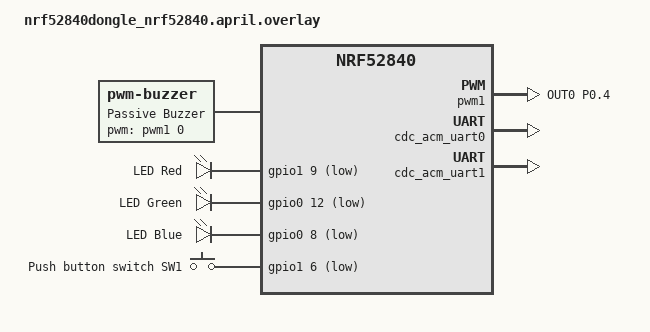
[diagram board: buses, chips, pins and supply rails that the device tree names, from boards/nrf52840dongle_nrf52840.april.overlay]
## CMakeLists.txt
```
#
# Copyright (c) 2018 Nordic Semiconductor
#
# SPDX-License-Identifier: LicenseRef-Nordic-5-Clause
#
cmake_minimum_required(VERSION 3.20.0)

find_package(Zephyr REQUIRED HINTS $ENV{ZEPHYR_BASE})
project(mouthpad_usb)

target_include_directories(app PRIVATE 
  src/mouthpad-proto/nanopb
  src/mouthpad-proto/src/C
)

# NORDIC SDK APP START
  target_sources(app PRIVATE
    src/ble_transport.c
    src/ble_central.c
    src/ble_nus_client.c
    src/ble_hid.c
    src/ble_bas.c
    src/usb_cdc.c
    src/usb_hid.c
    src/sample_usbd_init.c
    src/oled_display.c
    src/buzzer.c
    src/leds.c
    src/button.c
    src/main.c
    src/mouthpad-proto/src/C/MouthpadUsb.pb.c
    src/mouthpad-proto/nanopb/pb_common.c
    src/mouthpad-proto/nanopb/pb_decode.c
    src/mouthpad-proto/nanopb/pb_encode.c
  )
# NORDIC SDK APP END
```

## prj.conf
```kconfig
#
# Copyright (c) 2018 Nordic Semiconductor
#
# SPDX-License-Identifier: LicenseRef-Nordic-5-Clause
#

# Console configuration - REQUIRED for new USB CDC stack
# All console output (printk + logging) goes to CDC1 via zephyr,console chosen node
CONFIG_CONSOLE=y
CONFIG_UART_CONSOLE=y
CONFIG_SERIAL=y

# Shell for DFU command
CONFIG_SHELL=y
CONFIG_SHELL_BACKEND_SERIAL=y
CONFIG_SHELL_PROMPT_UART=""
# Reduce shell verbosity
CONFIG_SHELL_VT100_COLORS=n
CONFIG_SHELL_STATS=n
CONFIG_SHELL_CMDS_RESIZE=n
CONFIG_SHELL_LOG_BACKEND=n
CONFIG_KERNEL_SHELL=n

# Disable old USB stack explicitly
CONFIG_USB_DEVICE_STACK=n
CONFIG_USB_CDC_ACM=n
CONFIG_USB_DEVICE_HID=n

# Enable new USB device stack
CONFIG_USB_DEVICE_STACK_NEXT=y
CONFIG_USBD_HID_SUPPORT=y
CONFIG_USBD_CDC_ACM_CLASS=y

# CDC requirements
CONFIG_UART_LINE_CTRL=y
CONFIG_UART_USE_RUNTIME_CONFIGURE=y
CONFIG_HWINFO=y

# USB device identity (handled by sample_usbd)
# VID: 0x1915 (Nordic Semiconductor - matches ESP32 firmware)
# PID: 0xEEEE (matches ESP32 firmware)
CONFIG_SAMPLE_USBD_PID=0xEEEE
CONFIG_SAMPLE_USBD_MANUFACTURER="Augmental Tech"
CONFIG_SAMPLE_USBD_PRODUCT="MouthPad^USB"
CONFIG_SAMPLE_USBD_REMOTE_WAKEUP=y
CONFIG_SAMPLE_USBD_SELF_POWERED=n
CONFIG_SAMPLE_USBD_MAX_POWER=50

# Serial number from device ID (8 bytes = 16 hex chars, similar to ESP32 MAC)
CONFIG_USBD_HWINFO_DEVID_LENGTH=8

# Enable the BLE stack with GATT Client configuration
CONFIG_BT=y
CONFIG_BT_CENTRAL=y
CONFIG_BT_SMP=y
CONFIG_BT_ATT_TX_COUNT=5
CONFIG_BT_GATT_CLIENT=y

# Enable larger MTU for BLE NUS
CONFIG_BT_L2CAP_TX_MTU=247
CONFIG_BT_BUF_ACL_RX_SIZE=247
CONFIG_BT_BUF_ACL_TX_SIZE=247

# Explicitly disable SC-only mode to allow legacy pairing
CONFIG_BT_SMP_SC_PAIR_ONLY=n

# Enable the BLE modules from NCS
CONFIG_BT_NUS_CLIENT=y
CONFIG_BT_SCAN=y
CONFIG_BT_SCAN_FILTER_ENABLE=y
# Need 2 UUID filter slots: one for HID, one for NUS
CONFIG_BT_SCAN_UUID_CNT=2
CONFIG_BT_PRIVACY=y
CONFIG_BT_SCAN_ADDRESS_CNT=8
CONFIG_BT_GATT_DM=y
CONFIG_BT_HOGP=y
CONFIG_BT_BAS_CLIENT=y

# Aggressive scanning for better discovery and connection
# CONFIG_BT_SCAN_WITH_IDENTITY conflicts with BT_PRIVACY
# Note: Scan interval/window are set programmatically in ble_central.c for faster pairing

# Background scan (during active connection for RSSI updates)
CONFIG_BT_BACKGROUND_SCAN_INTERVAL=60
CONFIG_BT_BACKGROUND_SCAN_WINDOW=30

# BLE connection and pairing limits
CONFIG_BT_MAX_CONN=8
# Limit to single bonded device - only pair with one MouthPad
CONFIG_BT_MAX_PAIRED=1
CONFIG_BT_KEYS_OVERWRITE_OLDEST=y
CONFIG_BT_GATT_DM_MAX_ATTRS=100
CONFIG_BT_L2CAP_TX_BUF_COUNT=5
CONFIG_BT_HOGP_REPORTS_MAX=32
CONFIG_BT_DEVICE_NAME="MouthPad^USB"

CONFIG_HEAP_MEM_POOL_SIZE=16384

CONFIG_MAIN_STACK_SIZE=2048
CONFIG_SYSTEM_WORKQUEUE_STACK_SIZE=16384

# Enable bonding
CONFIG_BT_SETTINGS=y
CONFIG_FLASH=y
CONFIG_FLASH_PAGE_LAYOUT=y
CONFIG_FLASH_MAP=y

# BLE Signal Strength & Connection Improvements
# TX Power: Set to maximum (+8 dBm for nRF52840)
CONFIG_BT_CTLR_TX_PWR_PLUS_8=y

# PHY Support: Enable 2M PHY for better throughput and Coded PHY for longer range
CONFIG_BT_USER_PHY_UPDATE=y
CONFIG_BT_AUTO_PHY_UPDATE=y
CONFIG_BT_CTLR_PHY_2M=y
CONFIG_BT_CTLR_PHY_CODED=y

# Data Length Extension for larger packets
CONFIG_BT_USER_DATA_LEN_UPDATE=y
CONFIG_BT_AUTO_DATA_LEN_UPDATE=y
CONFIG_BT_CTLR_DATA_LENGTH_MAX=247

# Link Layer optimizations for stability
CONFIG_BT_CTLR_CONN_RSSI=y
CONFIG_BT_CTLR_CHAN_SEL_2=y
CONFIG_BT_CTLR_LE_PING=y

# Buffer optimizations
CONFIG_BT_BUF_ACL_RX_SIZE=251
CONFIG_BT_BUF_ACL_TX_SIZE=251

CONFIG_DK_LIBRARY=y

# Console & Logging - matches working /samples/dual_cdc_hid config
# All output goes to CDC1 via zephyr,console chosen node
CONFIG_PRINTK=y
CONFIG_LOG=y
# Use deferred mode for stable enumeration (immediate mode breaks USB)
# CONFIG_LOG_MODE_IMMEDIATE is not set - defaults to deferred
CONFIG_LOG_BUFFER_SIZE=8192

# Enable UART backend for proper CDC logging
CONFIG_LOG_BACKEND_UART=y
# Disable colored output (removes ANSI escape codes)
CONFIG_LOG_BACKEND_FORMAT_TIMESTAMP=n
CONFIG_LOG_BACKEND_SHOW_COLOR=n

# USB logging levels - WRN to reduce control transfer noise
CONFIG_USBD_LOG_LEVEL_WRN=y
CONFIG_USBD_HID_LOG_LEVEL_WRN=y
# CDC_ACM logging auto-disabled to prevent recursion (console uses CDC_ACM)
CONFIG_UDC_DRIVER_LOG_LEVEL_WRN=y

# BLE logging levels - enable for our custom modules
CONFIG_BT_LOG_LEVEL_INF=y
CONFIG_BT_HCI_CORE_LOG_LEVEL_INF=y

CONFIG_ASSERT=y

CONFIG_GPIO=y
CONFIG_INPUT=y
CONFIG_INPUT_MODE_SYNCHRONOUS=y
CONFIG_INPUT_GPIO_KEYS=y

# Display Support
CONFIG_I2C=y
CONFIG_DISPLAY=y
CONFIG_SSD1306=y
CONFIG_DISPLAY_LOG_LEVEL_ERR=y
CONFIG_CHARACTER_FRAMEBUFFER=y

# PWM Support for Buzzer
CONFIG_PWM=y
CONFIG_PWM_LOG_LEVEL_ERR=y

# UF2 Bootloader Support
CONFIG_BUILD_OUTPUT_UF2=y
```

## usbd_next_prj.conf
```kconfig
CONFIG_USB_DEVICE_STACK_NEXT=y
CONFIG_USBD_HID_SUPPORT=y

CONFIG_LOG=y
CONFIG_USBD_LOG_LEVEL_WRN=y
CONFIG_USBD_HID_LOG_LEVEL_WRN=y
CONFIG_UDC_DRIVER_LOG_LEVEL_WRN=y
CONFIG_SAMPLE_USBD_PID=0x0007

CONFIG_GPIO=y
CONFIG_INPUT=y
```

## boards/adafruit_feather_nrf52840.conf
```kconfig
# Board-specific configuration for Adafruit Feather nRF52840

# Build UF2 by default, supported by the Adafruit nRF52 Bootloader
CONFIG_BUILD_OUTPUT_UF2=y

# Flash and partition support (required for custom partition layouts)
CONFIG_FLASH=y
CONFIG_FLASH_PAGE_LAYOUT=y
CONFIG_FLASH_MAP=y
CONFIG_USE_DT_CODE_PARTITION=y

# Force flash base address to match UF2 target address
CONFIG_FLASH_BASE_ADDRESS=0x26000

# Re-enable BT settings with global pm_static.yml
CONFIG_BT_SETTINGS=y

# NVS configuration for 32KB storage partition (0x8000 bytes)  
# Flash page size is 4KB (0x1000), so 8 sectors * 4KB = 32KB
CONFIG_SETTINGS_NVS_SECTOR_COUNT=8
CONFIG_SETTINGS_NVS_SECTOR_SIZE_MULT=1

# Hardware stack protection (if available)
CONFIG_HW_STACK_PROTECTION=y

# Enable LED strip support for NeoPixel
CONFIG_LED_STRIP=y

# Enable debug logging for LED strip driver
CONFIG_LED_STRIP_LOG_LEVEL_DBG=y

# WS2812 specific configuration - use GPIO to match Arduino approach
CONFIG_WS2812_STRIP_GPIO=y

# Critical: Enable high-frequency clock control for precise WS2812 timing
CONFIG_CLOCK_CONTROL=y
CONFIG_CLOCK_CONTROL_NRF=y

# Enable HFXO for better timing accuracy (recommended by Nordic for WS2812)
CONFIG_CLOCK_CONTROL_NRF_K32SRC_XTAL=y
CONFIG_CLOCK_CONTROL_NRF_K32SRC_500PPM=y
```

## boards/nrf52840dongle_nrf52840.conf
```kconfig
# Board-specific configuration for April Brothers nRF52840 Dongle
# Based on PCA10059 hardware with Adafruit UF2 Bootloader v0.9.2

# IMPORTANT: This dongle has NO SoftDevice installed (confirmed by INFO_UF2.TXT)
# The UF2 bootloader boots applications directly from 0x1000 (after 4KB MBR)

# Build UF2 for Adafruit bootloader
CONFIG_BUILD_OUTPUT_UF2=y

# Disable the board's default MCUboot configuration
CONFIG_BOOTLOADER_MCUBOOT=n

# Start application at 0x1000 (after MBR) instead of 0x10000 (after MCUboot)
# This must come after BOOTLOADER_MCUBOOT=n to override the default
CONFIG_FLASH_LOAD_OFFSET=0x1000
CONFIG_FLASH_LOAD_SIZE=0xdf000

# Re-enable BT settings with global pm_static.yml
CONFIG_BT_SETTINGS=y

# NVS configuration for storage partition (16KB at 0xdc000 from fstab-stock.dtsi)
CONFIG_SETTINGS_NVS_SECTOR_COUNT=4
CONFIG_SETTINGS_NVS_SECTOR_SIZE_MULT=1

# Hardware stack protection (if available)
CONFIG_HW_STACK_PROTECTION=y

# Disable display support - April Brothers dongle has no display
CONFIG_DISPLAY=n

# Flash and partition support (required for custom partition layouts)
CONFIG_FLASH=y
CONFIG_FLASH_PAGE_LAYOUT=y
CONFIG_FLASH_MAP=y
CONFIG_USE_DT_CODE_PARTITION=y
```

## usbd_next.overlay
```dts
/*
 * Copyright (c) 2023 Nordic Semiconductor ASA
 *
 * SPDX-License-Identifier: Apache-2.0
 */

/ {
	hid_dev_0: hid_dev_0 {
		compatible = "zephyr,hid-device";
		label = "MouthPad^HID";
		protocol-code = "none";
		in-polling-period-us = <1000>;
		in-report-size = <64>;
	};
};
```

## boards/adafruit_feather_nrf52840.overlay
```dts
/*
 * Copyright (c) 2025 Robert Dale Smith
 * Copyright (c) 2025 Augmental Tech
 *
 * SPDX-License-Identifier: Apache-2.0
 */

/* Adafruit Feather nRF52840 overlay for MouthPad^USB */

#include <zephyr/dt-bindings/led/led.h>

/* Override default MCUboot partitions with UF2-compatible layout for Adafruit nRF52840 */

/* I2C0 can be used for external displays if connected */
&i2c0 {
	status = "okay";
};

/* Add PWM configuration for passive buzzer on pin A0 (P0.04) */
&pinctrl {
	pwm1_default: pwm1_default {
		group1 {
			psels = <NRF_PSEL(PWM_OUT0, 0, 4)>; /* A0 pin for buzzer */
		};
	};

	pwm1_sleep: pwm1_sleep {
		group1 {
			psels = <NRF_PSEL(PWM_OUT0, 0, 4)>;
			low-power-enable;
		};
	};

};

&pwm1 {
	status = "okay";
	pinctrl-0 = <&pwm1_default>;
	pinctrl-1 = <&pwm1_sleep>;
	pinctrl-names = "default", "sleep";
};

/* Use GPIO driver to match Arduino's direct GPIO approach */
/ {
	neopixel: ws2812 {
		compatible = "worldsemi,ws2812-gpio";
		chain-length = <1>;
		color-mapping = <LED_COLOR_ID_GREEN LED_COLOR_ID_RED LED_COLOR_ID_BLUE>; /* GRB order */
		/* P0.16 confirmed by schematic and working Arduino code - high-speed pin */
		gpios = <&gpio0 16 GPIO_ACTIVE_HIGH>;
	};
};

/ {
	chosen {
		nordic,nus-uart = &cdc_acm_uart0;  /* BLE NUS bridge uses CDC0 */
		zephyr,console = &cdc_acm_uart1;   /* Console/logs on CDC1 */
		zephyr,shell-uart = &cdc_acm_uart1;
		zephyr,led-strip = &neopixel;  /* Critical: Set chosen led-strip for timing calculations */
	};

	/* Ensure CPU frequency is properly defined for WS2812 timing calculations */
	cpus {
		cpu@0 {
			clock-frequency = <64000000>;  /* 64MHz - standard nRF52840 frequency */
		};
	};

	aliases {
		buzzer-pwm = &pwm1;
		led-strip = &neopixel;
		led0 = &neopixel;  /* Make led0 alias point to neopixel for HAS_NEOPIXEL detection */
		sw0 = &button0;    /* Use existing Feather user button */
	};

	/* HID device node */
	hid_dev_0: hid_dev_0 {
		compatible = "zephyr,hid-device";
		label = "MouthPad^HID";
		protocol-code = "mouse";
		in-report-size = <64>;
		in-polling-period-us = <1000>;
	};

	buzzer {
		compatible = "pwm-buzzer";
		pwms = <&pwm1 0 1000000 PWM_POLARITY_NORMAL>; /* 1MHz base period */
		label = "Passive Buzzer";
	};

	/* NeoPixel powered directly from 3.3V - no power enable needed */
};

/* Add dual CDC ACM nodes */
&zephyr_udc0 {
	cdc_acm_uart0: cdc_acm_uart0 {
		compatible = "zephyr,cdc-acm-uart";
		label = "CDC_ACM_0";
	};

	cdc_acm_uart1: cdc_acm_uart1 {
		compatible = "zephyr,cdc-acm-uart";
		label = "CDC_ACM_1";
	};

	board_cdc_acm_uart: board_cdc_acm_uart {
		compatible = "zephyr,cdc-acm-uart";
	};
};

/* Remove default partition map before defining UF2 layout */
/delete-node/ &boot_partition;
/delete-node/ &slot0_partition;
/delete-node/ &slot1_partition;
/delete-node/ &storage_partition;

&flash0 {
	/*
	 * UF2 flash layout for nrf52840 using Adafruit bootloader
	 *
	 * 0x00000000 SoftDevice s140 v6    (152 kB)  
	 * 0x00026000 Application partition (792 kB)
	 * 0x000ec000 Storage partition     (32 kB)
	 * 0x000f4000 UF2 boot partition    (48 kB)
	 *
	 * See https://learn.adafruit.com/introducing-the-adafruit-nrf52840-feather/hathach-memory-map
	 */

	partitions {
		compatible = "fixed-partitions";
		#address-cells = <1>;
		#size-cells = <1>;

		sd_partition: partition@0 {
			label = "softdevice";
			reg = <0x00000000 0x00026000>;
		};

	code_partition: partition@26000 {
		label = "code_partition";
		reg = <0x00026000 0x000c6000>;
	};

		storage_partition: partition@ec000 {
			label = "storage";
			reg = <0x000ec000 0x00008000>;
		};

		boot_partition: partition@f4000 {
			label = "adafruit_boot";
			reg = <0x000f4000 0x0000c000>;
		};
	};
};

/ {
	chosen {
		zephyr,code-partition = &code_partition;
		zephyr,settings-partition = &storage_partition;
	};
};
```

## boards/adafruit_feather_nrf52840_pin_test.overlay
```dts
/*
 * Copyright (c) 2025 Robert Dale Smith
 * Copyright (c) 2025 Augmental Tech
 *
 * SPDX-License-Identifier: Apache-2.0
 */

/* Alternative pin test overlay for Adafruit Feather nRF52840 */

#include <zephyr/dt-bindings/led/led.h>

/* I2C0 can be used for external displays if connected */
&i2c0 {
	status = "okay";
};

/* Add PWM configuration for passive buzzer on pin A0 (P0.04) */
&pinctrl {
	pwm1_default: pwm1_default {
		group1 {
			psels = <NRF_PSEL(PWM_OUT0, 0, 4)>; /* A0 pin for buzzer */
		};
	};

	pwm1_sleep: pwm1_sleep {
		group1 {
			psels = <NRF_PSEL(PWM_OUT0, 0, 4)>;
			low-power-enable;
		};
	};
};

&pwm1 {
	status = "okay";
	pinctrl-0 = <&pwm1_default>;
	pinctrl-1 = <&pwm1_sleep>;
	pinctrl-names = "default", "sleep";
};

/ {
	chosen {
		nordic,nus-uart = &board_cdc_acm_uart;
	};

	aliases {
		buzzer-pwm = &pwm1;
		/* Use NeoPixel for ALL LED functionality - override individual LEDs */
		led0 = &neopixel;
		led1 = &neopixel;
		led2 = &neopixel;
		led-strip = &neopixel;
	};
	
	/* Disable individual LEDs by overriding their status */
	leds {
		compatible = "gpio-leds";
		led0: led_0 {
			status = "disabled";
		};
		led1: led_1 {
			status = "disabled";
		};
	};

	buzzer {
		compatible = "pwm-buzzer";
		pwms = <&pwm1 0 1000000 PWM_POLARITY_NORMAL>; /* 1MHz base period */
		label = "Passive Buzzer";
	};

	/* Try P1.09 - some boards use this pin for NeoPixel */
	neopixel: neopixel {
		compatible = "worldsemi,ws2812-gpio";
		chain-length = <1>;
		color-mapping = <LED_COLOR_ID_RED LED_COLOR_ID_GREEN LED_COLOR_ID_BLUE>; /* RGB order */
		reset-delay = <280>; /* Reset delay in microseconds */
		gpios = <&gpio1 9 0>; /* P1.09 = Alternative NeoPixel pin */
		label = "NeoPixel";
	};
};

&zephyr_udc0 {
	board_cdc_acm_uart: board_cdc_acm_uart {
		compatible = "zephyr,cdc-acm-uart";
	};
};
```

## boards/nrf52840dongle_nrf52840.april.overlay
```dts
/*
 * April Brothers nRF52840 Dongle overlay for MouthPad^USB
 * Hardware based on PCA10059 with Adafruit nRF52 Bootloader
 *
 * NOTE: April Brothers claims same pin mapping as Nordic wiki but physical wiring differs!
 * Pin mappings from: https://wiki.aprbrother.com/en/BleUsbDongle.html
 *
 * USAGE: To use this April Brothers variant:
 *   mv app/boards/nrf52840dongle_nrf52840.overlay app/boards/nrf52840dongle_nrf52840_nordic.overlay.bak
 *   mv app/boards/nrf52840dongle_nrf52840_april.overlay app/boards/nrf52840dongle_nrf52840.overlay
 *   make build-april
 *
 * To switch back to Nordic PCA10059:
 *   mv app/boards/nrf52840dongle_nrf52840.overlay app/boards/nrf52840dongle_nrf52840_april.overlay
 *   mv app/boards/nrf52840dongle_nrf52840_nordic.overlay.bak app/boards/nrf52840dongle_nrf52840.overlay
 */

&pinctrl {
	pwm1_default: pwm1_default {
		group1 {
			psels = <NRF_PSEL(PWM_OUT0, 0, 4)>;
		};
	};

	pwm1_sleep: pwm1_sleep {
		group1 {
			psels = <NRF_PSEL(PWM_OUT0, 0, 4)>;
			low-power-enable;
		};
	};
};

&pwm1 {
	status = "okay";
	pinctrl-0 = <&pwm1_default>;
	pinctrl-1 = <&pwm1_sleep>;
	pinctrl-names = "default", "sleep";
};

/* Override LED GPIO pins to match April Brothers ACTUAL physical wiring
 * The base board defines led0_green, led1_red, led1_green, led1_blue
 * We override their GPIO assignments to use the RGB LED (LED2)
 *
 * April Brothers wiki says: Red=P0.08, Green=P1.09, Blue=P0.12
 * Test pattern revealed actual physical LED mapping:
 *   Code RED -> Physical BLUE (P0.08)
 *   Code GREEN -> Physical RED (P1.09)
 *   Code BLUE -> Physical GREEN (P0.12)
 *
 * Correct mapping (swap code channels to get right colors):
 *   led0 (red in code) -> P1.09 (physical red)
 *   led1 (green in code) -> P0.12 (physical green)
 *   led2 (blue in code) -> P0.08 (physical blue)
 */
&led0_green {
	gpios = <&gpio1 9 GPIO_ACTIVE_LOW>;  /* Code red -> Physical red (P1.09) */
	label = "LED Red";
};

&led1_red {
	gpios = <&gpio0 12 GPIO_ACTIVE_LOW>;  /* Code green -> Physical green (P0.12) */
	label = "LED Green";
};

&led1_green {
	gpios = <&gpio0 8 GPIO_ACTIVE_LOW>;  /* Code blue -> Physical blue (P0.08) */
	label = "LED Blue";
};

/* Disable standalone LED1 for sanity check */
&led1_blue {
	status = "disabled";
};

/* Override button to match April Brothers pinout (P1.06) */
&button0 {
	gpios = <&gpio1 6 (GPIO_PULL_UP | GPIO_ACTIVE_LOW)>;
	label = "Push button switch SW1";
};

/ {
	chosen {
		nordic,nus-uart = &cdc_acm_uart0;
		zephyr,console = &cdc_acm_uart1;
		zephyr,shell-uart = &cdc_acm_uart1;
	};

	aliases {
		buzzer-pwm = &pwm1;
	};

	hid_dev_0: hid_dev_0 {
		compatible = "zephyr,hid-device";
		label = "MouthPad^HID";
		protocol-code = "mouse";
		in-report-size = <64>;
		in-polling-period-us = <1000>;
	};

	buzzer {
		compatible = "pwm-buzzer";
		pwms = <&pwm1 0 1000000 PWM_POLARITY_NORMAL>;
		label = "Passive Buzzer";
	};
};

/* Disable board's default CDC node */
&board_cdc_acm_uart {
	status = "disabled";
};

/* Add dual CDC ACM nodes */
&zephyr_udc0 {
	cdc_acm_uart0: cdc_acm_uart0 {
		compatible = "zephyr,cdc-acm-uart";
		label = "CDC_ACM_0";
	};

	cdc_acm_uart1: cdc_acm_uart1 {
		compatible = "zephyr,cdc-acm-uart";
		label = "CDC_ACM_1";
	};
};

/* Override default partitions with SoftDevice layout */
/delete-node/ &boot_partition;
/delete-node/ &slot0_partition;
/delete-node/ &slot1_partition;
/delete-node/ &storage_partition;

&flash0 {
	partitions {
		compatible = "fixed-partitions";
		#address-cells = <1>;
		#size-cells = <1>;

		sd_partition: partition@0 {
			label = "softdevice";
			reg = <0x00000000 0x00026000>;
		};

		code_partition: partition@26000 {
			label = "code_partition";
			reg = <0x00026000 0x000c6000>;
		};

		storage_partition: partition@ec000 {
			label = "storage";
			reg = <0x000ec000 0x00008000>;
		};

		boot_partition: partition@f4000 {
			label = "adafruit_boot";
			reg = <0x000f4000 0x0000c000>;
		};
	};
};

/ {
	chosen {
		zephyr,code-partition = &code_partition;
		zephyr,settings-partition = &storage_partition;
	};
};
```

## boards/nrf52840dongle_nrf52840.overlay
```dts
/*
 * Copyright (c) 2025 Robert Dale Smith
 * Copyright (c) 2025 Augmental Tech
 *
 * SPDX-License-Identifier: Apache-2.0
 */

/* April Brothers nRF52840 Dongle overlay for MouthPad^USB
 * Hardware based on PCA10059 with Adafruit nRF52 Bootloader
 * Pin mappings from: https://wiki.aprbrother.com/en/BleUsbDongle.html
 */

/* Add PWM pinctrl configuration for optional buzzer */
&pinctrl {
	pwm1_default: pwm1_default {
		group1 {
			psels = <NRF_PSEL(PWM_OUT0, 0, 4)>; /* P0.04 - unused pin for optional buzzer */
		};
	};

	pwm1_sleep: pwm1_sleep {
		group1 {
			psels = <NRF_PSEL(PWM_OUT0, 0, 4)>;
			low-power-enable;
		};
	};
};

&pwm1 {
	status = "okay";
	pinctrl-0 = <&pwm1_default>;
	pinctrl-1 = <&pwm1_sleep>;
	pinctrl-names = "default", "sleep";
};

/* Override existing LED GPIO pins to match April Brothers pinout
 * The base board defines led0_green, led1_red, led1_green, led1_blue
 * We override their GPIO assignments to use the RGB LED (LED2)
 *
 * April Brothers wiki says: Red=P0.08, Green=P1.09, Blue=P0.12
 * Test pattern revealed actual physical LED mapping:
 *   Code RED -> Physical BLUE (P0.08)
 *   Code GREEN -> Physical RED (P1.09)
 *   Code BLUE -> Physical GREEN (P0.12)
 *
 * Correct mapping (swap code channels to get right colors):
 *   led0 (red in code) -> P1.09 (physical red)
 *   led1 (green in code) -> P0.12 (physical green)
 *   led2 (blue in code) -> P0.08 (physical blue)
 */
&led0_green {
	gpios = <&gpio1 9 GPIO_ACTIVE_LOW>;  /* Code red -> Physical red (P1.09) */
	label = "LED Red";
};

&led1_red {
	gpios = <&gpio0 12 GPIO_ACTIVE_LOW>;  /* Code green -> Physical green (P0.12) */
	label = "LED Green";
};

&led1_green {
	gpios = <&gpio0 8 GPIO_ACTIVE_LOW>;  /* Code blue -> Physical blue (P0.08) */
	label = "LED Blue";
};

/* Disable standalone LED1 for sanity check */
&led1_blue {
	status = "disabled";
};

/* Override button to match April Brothers pinout (P1.06) */
&button0 {
	gpios = <&gpio1 6 (GPIO_PULL_UP | GPIO_ACTIVE_LOW)>;
	label = "Push button switch SW1";
};

/ {
	chosen {
		nordic,nus-uart = &cdc_acm_uart0;  /* BLE NUS bridge uses CDC0 */
		zephyr,console = &cdc_acm_uart1;   /* Console/logs on CDC1 */
		zephyr,shell-uart = &cdc_acm_uart1;
	};

	aliases {
		buzzer-pwm = &pwm1;
	};

	/* HID device node */
	hid_dev_0: hid_dev_0 {
		compatible = "zephyr,hid-device";
		label = "MouthPad^HID";
		protocol-code = "mouse";
		in-report-size = <64>;
		in-polling-period-us = <1000>;
	};

	/* Optional buzzer device */
	buzzer {
		compatible = "pwm-buzzer";
		pwms = <&pwm1 0 1000000 PWM_POLARITY_NORMAL>; /* 1MHz base period */
		label = "Passive Buzzer";
	};
};

/* Disable board's default CDC node */
&board_cdc_acm_uart {
	status = "disabled";
};

/* Add dual CDC ACM nodes */
&zephyr_udc0 {
	cdc_acm_uart0: cdc_acm_uart0 {
		compatible = "zephyr,cdc-acm-uart";
		label = "CDC_ACM_0";
	};

	cdc_acm_uart1: cdc_acm_uart1 {
		compatible = "zephyr,cdc-acm-uart";
		label = "CDC_ACM_1";
	};
};

/* Custom partition layout for UF2 bootloader without MCUboot
 * The April Brothers dongle has NO SoftDevice, boots directly from 0x1000
 */

/delete-node/ &boot_partition;
/delete-node/ &slot0_partition;
/delete-node/ &slot1_partition;
/delete-node/ &storage_partition;

&flash0 {
	partitions {
		compatible = "fixed-partitions";
		#address-cells = <1>;
		#size-cells = <1>;

		/* MBR at 0x0 is reserved by Nordic */

		/* Application starts at 0x1000 (after MBR) */
		code_partition: partition@1000 {
			label = "code_partition";
			reg = <0x00001000 0x000d9000>;  /* ~868 KB */
		};

		/* Settings storage before bootloader */
		storage_partition: partition@da000 {
			label = "storage";
			reg = <0x000da000 0x00006000>;  /* 24 KB */
		};

		/* UF2 bootloader at end of flash */
		boot_partition: partition@e0000 {
			label = "uf2_boot";
			reg = <0x000e0000 0x00020000>;  /* 128 KB */
		};
	};
};

/ {
	chosen {
		zephyr,code-partition = &code_partition;
		zephyr,settings-partition = &storage_partition;
	};
};
```

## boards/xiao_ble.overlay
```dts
/*
 * Copyright (c) 2025 Robert Dale Smith
 * Copyright (c) 2025 Augmental Tech
 *
 * SPDX-License-Identifier: Apache-2.0
 */

#include <zephyr/dt-bindings/input/input-event-codes.h>

/* XIAO Expansion Board SSD1306 OLED Display Overlay */

&i2c1 {
	status = "okay";
	
	ssd1306: ssd1306@3c {
		compatible = "solomon,ssd1306fb";
		reg = <0x3c>;
		width = <128>;
		height = <64>;
		segment-offset = <0>;
		page-offset = <0>;
		display-offset = <0>;
		multiplex-ratio = <63>;
		segment-remap;
		com-invdir;
		prechargep = <0x22>;
	};
};

/* Add PWM configuration for passive buzzer on A3 (GPIO0 29) */
&pinctrl {
	pwm1_default: pwm1_default {
		group1 {
			psels = <NRF_PSEL(PWM_OUT0, 0, 29)>; /* A3 pin for buzzer */
		};
	};

	pwm1_sleep: pwm1_sleep {
		group1 {
			psels = <NRF_PSEL(PWM_OUT0, 0, 29)>;
			low-power-enable;
		};
	};
};

&pwm1 {
	status = "okay";
	pinctrl-0 = <&pwm1_default>;
	pinctrl-1 = <&pwm1_sleep>;
	pinctrl-names = "default", "sleep";
};

/ {
	chosen {
		nordic,nus-uart = &cdc_acm_uart0;  /* BLE NUS bridge uses CDC0 */
		zephyr,console = &cdc_acm_uart1;   /* Console/logs on CDC1 */
		zephyr,shell-uart = &cdc_acm_uart1;
	};

	aliases {
		oled-display = &ssd1306;
		buzzer-pwm = &pwm1;
		sw0 = &user_button;
	};

	/* HID device node */
	hid_dev_0: hid_dev_0 {
		compatible = "zephyr,hid-device";
		label = "MouthPad^HID";
		protocol-code = "mouse";
		in-report-size = <64>;
		in-polling-period-us = <1000>;
	};

	buzzer {
		compatible = "pwm-buzzer";
		pwms = <&pwm1 0 1000000 PWM_POLARITY_NORMAL>; /* 1MHz base period */
		label = "Passive Buzzer";
	};

	/* User button from XIAO expansion board - D1 pin */
	buttons {
		compatible = "gpio-keys";
		user_button: button_0 {
			gpios = <&xiao_d 1 (GPIO_PULL_UP | GPIO_ACTIVE_LOW)>; /* D1 pin on XIAO expansion board */
			label = "User Button";
			zephyr,code = <INPUT_KEY_0>;
		};
	};
};

/* Disable board's default CDC node if it exists */
&board_cdc_acm_uart {
	status = "disabled";
};

/* Add dual CDC ACM nodes */
&zephyr_udc0 {
	cdc_acm_uart0: cdc_acm_uart0 {
		compatible = "zephyr,cdc-acm-uart";
		/* Label will be dynamically set to device ID at runtime */
		label = "CDC_ACM_0";
	};

	cdc_acm_uart1: cdc_acm_uart1 {
		compatible = "zephyr,cdc-acm-uart";
		/* Label will be dynamically set to device ID at runtime */
		label = "CDC_ACM_1";
	};
};
```

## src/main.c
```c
/*
 * Copyright (c) 2025 Robert Dale Smith
 * Copyright (c) 2025 Augmental Tech
 *
 * SPDX-License-Identifier: Apache-2.0
 */

/** @file
 *  @brief MouthPad USB Bridge - Main Application
 */

#include <zephyr/logging/log.h>
#include <zephyr/shell/shell.h>
#include <zephyr/drivers/hwinfo.h>
#include <string.h>
#include <nrf.h>

#include "usb_cdc.h"
#include "usb_hid.h"
#include "ble_transport.h"
#include "ble_bas.h"
#include "oled_display.h"
#include "buzzer.h"
#include "leds.h"
#include "button.h"
#include "MouthpadUsb.pb.h"
#include "pb_decode.h"
#include "pb_encode.h"

#define LOG_MODULE_NAME main
LOG_MODULE_REGISTER(LOG_MODULE_NAME);

static void clear_ble_pairings(void)
{
	if (ble_transport_is_connected()) {
		LOG_INF("Disconnecting current BLE connection before clearing bonds...");
		ble_transport_disconnect();
	}

	ble_transport_clear_bonds();
	LOG_INF("BLE bonds cleared - ready for new pairing");
}

/* Shell command: Enter DFU bootloader mode */
static int cmd_dfu(const struct shell *sh, size_t argc, char **argv)
{
	ARG_UNUSED(argc);
	ARG_UNUSED(argv);

	shell_print(sh, "Entering DFU bootloader mode...");
	k_sleep(K_MSEC(100)); /* Brief delay for message to be sent */

	/* Set GPREGRET magic value for UF2 bootloader */
	NRF_POWER->GPREGRET = 0x57;

	/* Perform system reset */
	NVIC_SystemReset();

	return 0;
}

/* Shell command: Display USB serial number (device ID) */
static int cmd_serial(const struct shell *sh, size_t argc, char **argv)
{
	ARG_UNUSED(argc);
	ARG_UNUSED(argv);

	uint8_t hwid[8];
	ssize_t hwid_len = hwinfo_get_device_id(hwid, sizeof(hwid));

	if (hwid_len > 0) {
		shell_print(sh, "USB Serial Number: %02X%02X%02X%02X%02X%02X%02X%02X",
			    hwid[0], hwid[1], hwid[2], hwid[3],
			    hwid[4], hwid[5], hwid[6], hwid[7]);
		shell_print(sh, "Port should show as: usbmodem%02X%02X%02X%02X%02X%02X%02X%02X<N>",
			    hwid[0], hwid[1], hwid[2], hwid[3],
			    hwid[4], hwid[5], hwid[6], hwid[7]);
	} else {
		shell_error(sh, "Failed to read device ID: %d", hwid_len);
	}

	return 0;
}

/* Shell command: Clear BLE bonds and reset pairing state */
static int cmd_clear(const struct shell *sh, size_t argc, char **argv)
{
	ARG_UNUSED(argc);
	ARG_UNUSED(argv);

	shell_print(sh, "Clearing stored BLE bonds and resetting pairing state...");
	clear_ble_pairings();
	shell_print(sh, "Bonds cleared. Put MouthPad into pairing mode to reconnect.");

	return 0;
}

SHELL_CMD_REGISTER(dfu, NULL, "Enter DFU bootloader mode", cmd_dfu);
SHELL_CMD_REGISTER(clear, NULL, "Clear stored BLE bonds", cmd_clear);
SHELL_CMD_REGISTER(serial, NULL, "Display USB serial number", cmd_serial);

/* Battery color indication mode - automatically set based on LED hardware */
/* GPIO LEDs use discrete mode, NeoPixel uses gradient mode */

/* Button event callback function */
static void button_event_callback(button_event_t event)
{
	switch (event) {
	case BUTTON_EVENT_CLICK:
		LOG_INF("=== BUTTON CLICK ===");
		/* TODO: Add click functionality */
		break;
		
	case BUTTON_EVENT_DOUBLE_CLICK:
		LOG_INF("=== BUTTON DOUBLE CLICK ===");
		/* TODO: Add double-click functionality */
		break;
		
	case BUTTON_EVENT_HOLD:
		LOG_INF("=== BUTTON HOLD - CLEARING BLE BONDS ===");
		/* Clear BLE bonds and reset for new pairing */
		clear_ble_pairings();
		break;
		
	default:
		break;
	}
}

/* USB HID callback function */
static void usb_hid_data_callback(const uint8_t *data, uint16_t len)
{
	// This callback is for USB HID data going TO USB (BLE->USB bridge)
	// Button detection is now handled in BLE HID layer where we have Report ID context
	
	// Bridge USB HID data to BLE HID
	if (ble_transport_is_hid_ready()) {
		LOG_DBG("BLE HID is ready, sending %d bytes", len);
		int err = ble_transport_send_hid_data(data, len);
		if (err) {
			LOG_ERR("USB HID→BLE HID FAILED (err %d)", err);
		} else {
			LOG_DBG("USB HID data sent to BLE HID successfully");
		}
	} else {
		LOG_DBG("HID client not ready - waiting for service discovery");
	}
}

int usb_cdc_send_proto_message(mouthware_message_UsbDongleToMouthpadAppMessage message)
{
	uint8_t dataPacket[1024];
	pb_ostream_t stream = pb_ostream_from_buffer(dataPacket, sizeof(dataPacket));
	if (!pb_encode(&stream, mouthware_message_UsbDongleToMouthpadAppMessage_fields, &message)) {
		LOG_ERR("Encoding failed: %s\n", PB_GET_ERROR(&stream));
		return -1;
	}
	return usb_cdc_send_data(dataPacket, stream.bytes_written);
}

int mouthpad_nus_data_received_callback(const uint8_t *data, uint16_t len)
{
	/* Forward data from MouthPad (BLE NUS) to USB CDC0 - minimal logging to keep CDC0 clean */
	LOG_DBG("NUS→CDC: %d bytes", len);

	// take binary data received via BLE, wrap it in a UsbDongleToMouthpadAppMessage and send it to the USB CDC
	mouthware_message_UsbDongleToMouthpadAppMessage message = mouthware_message_UsbDongleToMouthpadAppMessage_init_zero;
	message.which_message_body = mouthware_message_UsbDongleToMouthpadAppMessage_pass_through_to_app_tag;
	message.message_body.pass_through_to_app.data.size = len;
	memcpy(message.message_body.pass_through_to_app.data.bytes, data, len);

	return usb_cdc_send_proto_message_async(message);
}


int main(void)
{
	int err;

	LOG_INF("=== MouthPad^USB Starting === Built: %s %s", __DATE__, __TIME__);

	/* Initialize USB device stack (HID + CDC) */
	LOG_INF("Initializing USB device stack...");
	err = usb_init();
	if (err != 0) {
		LOG_ERR("usb_init failed (err %d)", err);
		return 0;
	}
	LOG_INF("USB device stack initialized successfully");

	/* Initialize USB CDC (get CDC0 device reference) */
	LOG_INF("Initializing USB CDC...");
	err = usb_cdc_init();
	if (err != 0) {
		LOG_ERR("usb_cdc_init failed (err %d)", err);
		return 0;
	}
	LOG_INF("USB CDC initialized successfully");

	/* Debug: Test HWINFO device ID reading */
	uint8_t hwid[8];
	ssize_t hwid_len = hwinfo_get_device_id(hwid, sizeof(hwid));
	if (hwid_len > 0) {
		LOG_INF("USB Serial Number: %02X%02X%02X%02X%02X%02X%02X%02X",
			hwid[0], hwid[1], hwid[2], hwid[3],
			hwid[4], hwid[5], hwid[6], hwid[7]);
	} else {
		LOG_ERR("HWINFO get_device_id failed: %d", hwid_len);
	}

	/* Initialize OLED Display */
	LOG_INF("Initializing OLED Display...");
	err = oled_display_init();
	if (err != 0) {
		LOG_WRN("oled_display_init failed (err %d) - continuing without display", err);
		/* Continue without display - it's not critical for core functionality */
	} else {
		LOG_INF("OLED Display initialized successfully");
		
		/* Show splash screen with Augmental logo */
		oled_display_splash_screen(2000);  /* Show logo for 2 seconds */
	}

	/* Initialize Passive Buzzer */
	LOG_INF("Initializing Passive Buzzer...");
	err = buzzer_init();
	if (err != 0) {
		LOG_WRN("buzzer_init failed (err %d) - continuing without buzzer", err);
		/* Continue without buzzer - it's not critical for core functionality */
	} else {
		LOG_INF("Passive Buzzer initialized successfully");
	}

	/* Initialize BLE Transport */
	LOG_INF("Initializing BLE Transport...");
	err = ble_transport_init();
	if (err != 0) {
		LOG_ERR("ble_transport_init failed (err %d)", err);
		return 0;
	}
	LOG_INF("BLE Transport initialized successfully");

	/* Register USB callbacks with BLE Transport */
	ble_transport_register_usb_cdc_callback((usb_cdc_send_cb_t)mouthpad_nus_data_received_callback);
	ble_transport_register_usb_hid_callback(usb_hid_data_callback);

	/* Start bridging */
	ble_transport_start_bridging();

	LOG_INF("Starting USB ↔ BLE bridge (NUS + HID)");

	/* Initialize LED subsystem */
	LOG_INF("Initializing LED subsystem...");
	err = leds_init();
	if (err != 0) {
		LOG_WRN("leds_init failed (err %d) - continuing without LEDs", err);
		/* Continue without LEDs - not critical for core functionality */
	} else {
		LOG_INF("LED subsystem initialized successfully");
		
		/* Choose color mode based on LED hardware */
		if (leds_has_neopixel()) {
			/* NeoPixel supports smooth gradients */
			leds_set_battery_color_mode(BAS_COLOR_MODE_GRADIENT);
			LOG_INF("Using gradient mode for NeoPixel LEDs");
		} else {
			/* GPIO LEDs work better with discrete colors */
			leds_set_battery_color_mode(BAS_COLOR_MODE_DISCRETE);
			LOG_INF("Using discrete mode for GPIO LEDs");
		}
		
		leds_set_state(LED_STATE_SCANNING);  /* Start in scanning state */
	}
	
	/* Initialize User Button */
	LOG_INF("Initializing user button...");
	err = button_init();
	if (err != 0) {
		LOG_WRN("button_init failed (err %d) - continuing without button", err);
		/* Continue without button - not critical for core functionality */
	} else {
		LOG_INF("User button initialized successfully");
		button_register_callback(button_event_callback);
	}
	
	static bool data_activity = false;
	static int display_update_counter = 0;

	/* Reset display state after splash screen to ensure status updates work */
	if (oled_display_is_available()) {
		oled_display_reset_state();
	}

	LOG_INF("Entering main loop...");

	for (;;) {
		/* USB CDC ↔ BLE NUS Bridge */

		/* Check BLE connection status and data activity */
		bool is_connected = ble_transport_is_connected();
		bool ble_data_activity = ble_transport_has_data_activity();
		uint8_t battery_level = ble_bas_get_battery_level();
		int8_t rssi_dbm = is_connected ? ble_transport_get_rssi() : 0;

		// Check for data from USB CDC and send to NUS
		// Supports two modes with explicit detection:
		// 1. Text mode: Plain text commands ending with \n (for testing/debugging)
		// 2. Protobuf mode: Length-prefixed protobuf messages (for production app)
		//
		// Detection strategy:
		// - If message starts with printable ASCII letter (A-Z, a-z), assume text mode
		// - Otherwise assume protobuf mode (length prefix is a small number < 32)
		static uint8_t cdc_buffer[UART_BUF_SIZE];
		static int cdc_pos = 0;
		static bool text_mode = false;

		uint8_t c;
		int bytes_read = usb_cdc_receive_data(&c, 1);

		if (bytes_read > 0) { // Data received from CDC
			LOG_DBG("CDC0 RX byte: 0x%02X ('%c')", c, (c >= 32 && c < 127) ? c : '.');

			// Detect mode on first byte
			if (cdc_pos == 0) {
				// Text mode: starts with A-Z or a-z (typical commands like "StartStream")
				// Protobuf mode: starts with length byte
				//
				// Since protobuf messages are length-prefixed, the first byte indicates
				// the message length. For typical protobuf messages (<64 bytes), the first
				// byte will be 0-63, which doesn't overlap with A-Z/a-z (65-90, 97-122).
				//
				// Edge case: Protobuf messages of length 65-90 or 97-122 bytes will be
				// misdetected as text, but this is unlikely for typical control messages.
				text_mode = ((c >= 'A' && c <= 'Z') || (c >= 'a' && c <= 'z'));
				LOG_INF("Mode detected: %s (first byte: 0x%02X)", text_mode ? "TEXT" : "PROTOBUF", c);
			}

			cdc_buffer[cdc_pos] = c;
			cdc_pos++;
			data_activity = true;  // Mark data activity

			if (cdc_pos >= UART_BUF_SIZE) {
				LOG_ERR("CDC buffer overflow");
				cdc_pos = 0;
				continue;
			}

			// Text mode: wait for newline
			if (text_mode && (c == '\n' || c == '\r')) {
				cdc_buffer[cdc_pos - 1] = '\0'; // Null terminate, remove newline
				LOG_INF("Text command: '%s' (%d bytes)", cdc_buffer, cdc_pos - 1);

				if (ble_transport_is_nus_ready()) {
					LOG_INF("Sending to MouthPad via NUS...");
					err = ble_transport_send_nus_data(cdc_buffer, cdc_pos - 1);
					if (err) {
						LOG_ERR("CDC→NUS failed (err %d)", err);
					} else {
						LOG_INF("Sent successfully");
					}
				} else {
					LOG_WRN("NUS not ready - is MouthPad connected?");
				}

				cdc_pos = 0;
				text_mode = false;
				continue;
			}

			// Protobuf mode: wait for length-prefixed packet
			if (!text_mode) {
				int expected_len = cdc_buffer[0];

				if (cdc_pos == expected_len + 1) {
					LOG_INF("Protobuf packet: len=%d, total=%d bytes", expected_len, cdc_pos);
					LOG_HEXDUMP_INF(cdc_buffer, cdc_pos, "CDC RX");

					// decode the byte string as
					mouthware_message_MouthpadAppToUsbMessage message;
					pb_istream_t stream = pb_istream_from_buffer(&cdc_buffer[1], cdc_pos - 1);
					if (!pb_decode(&stream, mouthware_message_MouthpadAppToUsbMessage_fields, &message)) {
						LOG_ERR("Protobuf decode failed: %s", PB_GET_ERROR(&stream));
						cdc_pos = 0;
						continue;
					}

					switch (message.destination) {
						case mouthware_message_MouthpadAppToUsbMessageDestination_MOUTHPAD_USB_MESSAGE_DESTINATION_DONGLE:
							if (message.which_message_body == mouthware_message_MouthpadAppToUsbMessage_connection_status_request_tag) {
								mouthware_message_UsbDongleToMouthpadAppMessage message = mouthware_message_UsbDongleToMouthpadAppMessage_init_zero;
								message.which_message_body = mouthware_message_UsbDongleToMouthpadAppMessage_connection_status_response_tag;
								message.message_body.connection_status_response.connection_status = mouthware_message_UsbDongleConnectionStatus_USB_DONGLE_CONNECTION_STATUS_DISCONNECTED;
								if (is_connected) {
									message.message_body.connection_status_response.connection_status = mouthware_message_UsbDongleConnectionStatus_USB_DONGLE_CONNECTION_STATUS_CONNECTED;
								} else {
									message.message_body.connection_status_response.connection_status = mouthware_message_UsbDongleConnectionStatus_USB_DONGLE_CONNECTION_STATUS_DISCONNECTED;

								}

								usb_cdc_send_proto_message_async(message);
							}
							else if (message.which_message_body == mouthware_message_MouthpadAppToUsbMessage_rssi_request_tag) {
								mouthware_message_UsbDongleToMouthpadAppMessage message = mouthware_message_UsbDongleToMouthpadAppMessage_init_zero;
								message.which_message_body = mouthware_message_UsbDongleToMouthpadAppMessage_rssi_status_response_tag;
								message.message_body.rssi_status_response.rssi = rssi_dbm;
								usb_cdc_send_proto_message_async(message);
							}
							break;
						case mouthware_message_MouthpadAppToUsbMessageDestination_MOUTHPAD_USB_MESSAGE_DESTINATION_MOUTHPAD:
							if (message.which_message_body == mouthware_message_MouthpadAppToUsbMessage_pass_through_to_mouthpad_request_tag) {
								if (ble_transport_is_nus_ready()) {
									/* Forward data to MouthPad via BLE NUS - log to console (CDC1) only */
									LOG_DBG("CDC→NUS: %d bytes", message.message_body.pass_through_to_mouthpad_request.data.size);
									err = ble_transport_send_nus_data(&message.message_body.pass_through_to_mouthpad_request.data.bytes, message.message_body.pass_through_to_mouthpad_request.data.size);
									if (err) {
										LOG_WRN("CDC→NUS failed (err %d)", err);
									}
								} else {
									LOG_DBG("NUS not ready, dropping %d bytes", message.message_body.pass_through_to_mouthpad_request.data.size);
								}
							}
							break;
						default:
							LOG_WRN("Invalid destination: %d", message.destination);
							break;
					}

					cdc_pos = 0;
				}
			}
		}
		
		/* Update LED state based on connection and activity */
		if (leds_is_available()) {
			if (is_connected && (data_activity || ble_data_activity)) {
				leds_set_state(LED_STATE_DATA_ACTIVITY);
			} else if (is_connected) {
				leds_set_state(LED_STATE_CONNECTED);
			} else {
				leds_set_state(LED_STATE_SCANNING);
			}
			
			/* Update LED animations */
			leds_update();
		}
		
		/* Update button state */
		if (button_is_available()) {
			button_update();
		}
		
		/* Reset data activity flag periodically */
		static int activity_counter = 0;
		activity_counter++;
		if (activity_counter >= 100) {
			data_activity = false;
			activity_counter = 0;
		}
		
		// Update OLED display every 500ms for responsive connection status updates (if available)
		// Reduced frequency to avoid overwhelming RSSI reads
		if (oled_display_is_available()) {
			display_update_counter++;
			if (display_update_counter >= 500) {
				oled_display_update_status(battery_level, is_connected, rssi_dbm);
				display_update_counter = 0;
			}
		}
		
		// Small delay to prevent busy waiting
		k_sleep(K_MSEC(1));
	}
}
```

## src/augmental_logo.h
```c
/*
 * Augmental Logo Bitmap
 * Generated from augmental_logo.png
 * For SSD1306 OLED Display (128x64)
 */

#ifndef AUGMENTAL_LOGO_H_
#define AUGMENTAL_LOGO_H_

/* Augmental logo bitmap - 128x64 pixels */
#include <stdint.h>

#define AUGMENTAL_LOGO_WIDTH  128
#define AUGMENTAL_LOGO_HEIGHT 64

static const uint8_t augmental_logo_bitmap[] = {
    0x00, 0x00, 0x00, 0x00, 0x00, 0x00, 0x00, 0x00, 0x00, 0x00, 0x00, 0x00, 0x00, 0x00, 0x00, 0x00,
    0x00, 0x00, 0x00, 0x00, 0x00, 0x00, 0x00, 0x00, 0x00, 0x00, 0x00, 0x00, 0x00, 0x00, 0x00, 0x00,
    0x00, 0x00, 0x00, 0x00, 0x00, 0x00, 0x00, 0x00, 0x00, 0x00, 0x00, 0x00, 0x00, 0x00, 0x00, 0x00,
    0x00, 0x00, 0x00, 0x00, 0x00, 0x00, 0x80, 0xE0, 0xFC, 0xFE, 0xFF, 0xFE, 0xFF, 0xFE, 0xFF, 0xFE,
    0xFF, 0xFE, 0xFF, 0xFE, 0xFF, 0xFE, 0xFF, 0xFE, 0xF8, 0xC0, 0x00, 0x00, 0x00, 0x00, 0x00, 0x00,
    0x00, 0x00, 0x00, 0x00, 0x00, 0x00, 0x00, 0x00, 0x00, 0x00, 0x00, 0x00, 0x00, 0x00, 0x00, 0x00,
    0x00, 0x00, 0x00, 0x00, 0x00, 0x00, 0x00, 0x00, 0x00, 0x00, 0x00, 0x00, 0x00, 0x00, 0x00, 0x00,
    0x00, 0x00, 0x00, 0x00, 0x00, 0x00, 0x00, 0x00, 0x00, 0x00, 0x00, 0x00, 0x00, 0x00, 0x00, 0x00,
    0x00, 0x00, 0x00, 0x00, 0x00, 0x00, 0x00, 0x00, 0x00, 0x00, 0x00, 0x00, 0x00, 0x00, 0x00, 0x00,
    0x00, 0x00, 0x00, 0x00, 0x00, 0x00, 0x00, 0x00, 0x00, 0x00, 0x00, 0x00, 0x00, 0x00, 0x00, 0x00,
    0x00, 0x00, 0x00, 0x00, 0x00, 0x00, 0x00, 0x00, 0x00, 0x00, 0x00, 0x00, 0x00, 0x00, 0x00, 0x00,
    0x00, 0x00, 0x00, 0x80, 0xE0, 0xFC, 0xFF, 0xFF, 0xFF, 0xFF, 0xFF, 0xFF, 0xFF, 0xFF, 0xFF, 0xFF,
    0xFF, 0xFF, 0xFF, 0xFF, 0xFF, 0xFF, 0xFF, 0xFF, 0xFF, 0xFF, 0xFE, 0xF8, 0xC0, 0x00, 0x00, 0x00,
    0x00, 0x00, 0x00, 0x00, 0x00, 0x00, 0x00, 0x00, 0x00, 0x00, 0x00, 0x00, 0x00, 0x00, 0x00, 0x00,
    0x00, 0x00, 0x00, 0x00, 0x00, 0x00, 0x00, 0x00, 0x00, 0x00, 0x00, 0x00, 0x00, 0x00, 0x00, 0x00,
    0x00, 0x00, 0x00, 0x00, 0x00, 0x00, 0x00, 0x00, 0x00, 0x00, 0x00, 0x00, 0x00, 0x00, 0x00, 0x00,
    0x00, 0x00, 0x00, 0x00, 0x00, 0x00, 0x00, 0x00, 0x00, 0x00, 0x00, 0x00, 0x00, 0x00, 0x00, 0x00,
    0x00, 0x00, 0x00, 0x00, 0x00, 0x00, 0x00, 0x00, 0x00, 0x00, 0x00, 0x00, 0x00, 0x00, 0x00, 0x00,
    0x00, 0x00, 0x00, 0x00, 0x00, 0x00, 0x00, 0x00, 0x00, 0x00, 0x00, 0x00, 0x00, 0x00, 0x00, 0x00,
    0x80, 0xE0, 0xFC, 0xFF, 0xFF, 0xFF, 0xFF, 0xFF, 0xFF, 0xFF, 0xFF, 0xFF, 0xFF, 0xFF, 0xFF, 0x3F,
    0x1F, 0xFF, 0xFF, 0xFF, 0xFF, 0xFF, 0xFF, 0xFF, 0xFF, 0xFF, 0xFF, 0xFF, 0xFF, 0xFE, 0xF8, 0xC0,
    0x00, 0x00, 0x00, 0x00, 0x00, 0x00, 0x00, 0x00, 0x00, 0x00, 0x00, 0x00, 0x00, 0x00, 0x00, 0x00,
    0x00, 0x00, 0x00, 0x00, 0x00, 0x00, 0x00, 0x00, 0x00, 0x00, 0x00, 0x00, 0x00, 0x00, 0x00, 0x00,
    0x00, 0x00, 0x00, 0x00, 0x00, 0x00, 0x00, 0x00, 0x00, 0x00, 0x00, 0x00, 0x00, 0x00, 0x00, 0x00,
    0x00, 0x00, 0x00, 0x00, 0x00, 0x00, 0x00, 0x00, 0x00, 0x00, 0x00, 0x00, 0x00, 0x00, 0x00, 0x00,
    0x00, 0x00, 0x00, 0x00, 0x00, 0x00, 0x00, 0x00, 0x00, 0x00, 0x00, 0x00, 0x00, 0x00, 0x00, 0x00,
    0x00, 0x00, 0x00, 0x00, 0x00, 0x00, 0x00, 0x00, 0x00, 0x00, 0x00, 0x00, 0x00, 0x00, 0xE0, 0xFC,
    0xFF, 0xFF, 0xFF, 0xFF, 0xFF, 0xFF, 0xFF, 0xFF, 0xFF, 0xFF, 0xFF, 0xFF, 0x3F, 0x0F, 0x01, 0x00,
    0x00, 0x00, 0x03, 0x1F, 0xFF, 0xFF, 0xFF, 0xFF, 0xFF, 0xFF, 0xFF, 0xFF, 0xFF, 0xFF, 0xFF, 0xFF,
    0xFE, 0xF8, 0xC0, 0x00, 0x00, 0x00, 0x00, 0x00, 0x00, 0x00, 0x00, 0x00, 0x00, 0x00, 0x00, 0x00,
    0x00, 0x00, 0x00, 0x00, 0x00, 0x00, 0x00, 0x00, 0x00, 0x00, 0x00, 0x00, 0x00, 0x00, 0x00, 0x00,
    0x00, 0x00, 0x00, 0x00, 0x00, 0x00, 0x00, 0x00, 0x00, 0x00, 0x00, 0x00, 0x00, 0x00, 0x00, 0x00,
    0x00, 0x00, 0x00, 0x00, 0x00, 0x00, 0x00, 0x00, 0x00, 0x00, 0x00, 0x00, 0x00, 0x00, 0x00, 0x00,
    0x00, 0x00, 0x00, 0x00, 0x00, 0x00, 0x00, 0x00, 0x00, 0x00, 0x00, 0x00, 0x00, 0x00, 0x00, 0x00,
    0x00, 0x00, 0x00, 0x00, 0x00, 0x00, 0x00, 0x00, 0x00, 0x00, 0x00, 0xE0, 0xFC, 0xFF, 0xFF, 0xFF,
    0xFF, 0xFF, 0xFF, 0xFF, 0xFF, 0xFF, 0xFF, 0xFF, 0xFF, 0x3F, 0x0F, 0x01, 0x00, 0x00, 0x00, 0x00,
    0x00, 0x00, 0x00, 0x00, 0x00, 0x03, 0x1F, 0xFF, 0xFF, 0xFF, 0xFF, 0xFF, 0xFF, 0xFF, 0xFF, 0xFF,
    0xFF, 0xFF, 0xFF, 0xFE, 0xF8, 0xC0, 0x00, 0x00, 0x00, 0x00, 0x00, 0x00, 0x00, 0x00, 0x00, 0x00,
    0x00, 0x00, 0x00, 0x00, 0x00, 0x00, 0x00, 0x00, 0x00, 0x00, 0x00, 0x00, 0x00, 0x00, 0x00, 0x00,
    0x00, 0x00, 0x00, 0x00, 0x00, 0x00, 0x00, 0x00, 0x00, 0x00, 0x00, 0x00, 0x00, 0x00, 0x00, 0x00,
    0x00, 0x00, 0x00, 0x00, 0x00, 0x00, 0x00, 0x00, 0x00, 0x00, 0x00, 0x00, 0x00, 0x00, 0x00, 0x00,
    0x00, 0x00, 0x00, 0x00, 0x00, 0x00, 0x00, 0x00, 0x00, 0x00, 0x00, 0x00, 0x00, 0x00, 0x00, 0x00,
    0x00, 0x00, 0x00, 0x00, 0x00, 0x00, 0x00, 0x00, 0xE0, 0xFC, 0xFF, 0xFF, 0xFF, 0xFF, 0xFF, 0xFF,
    0xFF, 0xFF, 0xFF, 0xFF, 0xFF, 0xFF, 0x3F, 0x0F, 0x01, 0x00, 0x00, 0x00, 0x00, 0x00, 0x00, 0x00,
    0x00, 0x00, 0x00, 0x00, 0x00, 0x00, 0x00, 0x00, 0x03, 0x1F, 0xFF, 0xFF, 0xFF, 0xFF, 0xFF, 0xFF,
    0xFF, 0xFF, 0xFF, 0xFF, 0xFF, 0xFF, 0xFE, 0xF0, 0xC0, 0x00, 0x00, 0x00, 0x00, 0x00, 0x00, 0x00,
    0x00, 0x00, 0x00, 0x00, 0x00, 0x00, 0x00, 0x00, 0x00, 0x00, 0x00, 0x00, 0x00, 0x00, 0x00, 0x00,
    0x00, 0x00, 0x00, 0x00, 0x00, 0x00, 0x00, 0x00, 0x00, 0x00, 0x00, 0x00, 0x00, 0x00, 0x00, 0x00,
    0x00, 0x00, 0x00, 0x00, 0x00, 0x00, 0x00, 0x00, 0x00, 0x00, 0x00, 0x00, 0x00, 0x00, 0x00, 0x00,
    0x00, 0x00, 0x00, 0x00, 0x00, 0x00, 0x00, 0x00, 0x00, 0x00, 0x00, 0x00, 0x00, 0x00, 0x00, 0x00,
    0x00, 0x00, 0x00, 0x00, 0x00, 0xE0, 0xFC, 0xFF, 0xFF, 0xFF, 0xFF, 0xFF, 0xFF, 0xFF, 0xFF, 0xFF,
    0xFF, 0xFF, 0xFF, 0x3F, 0x0F, 0x01, 0x00, 0x00, 0x00, 0x00, 0x00, 0x00, 0x00, 0x00, 0x00, 0x00,
    0x00, 0x00, 0x00, 0x00, 0x00, 0x00, 0x00, 0x00, 0x00, 0x00, 0x00, 0x03, 0x1F, 0xFF, 0xFF, 0xFF,
    0xFF, 0xFF, 0xFF, 0xFF, 0xFF, 0xFF, 0xFF, 0xFF, 0xFF, 0xFE, 0xF0, 0xC0, 0x00, 0x00, 0x00, 0x00,
    0x00, 0x00, 0x00, 0x00, 0x00, 0x00, 0x00, 0x00, 0x00, 0x00, 0x00, 0x00, 0x00, 0x00, 0x00, 0x00,
    0x00, 0x00, 0x00, 0x00, 0x00, 0x00, 0x00, 0x00, 0x00, 0x00, 0x00, 0x00, 0x00, 0x00, 0x00, 0x00,
    0x00, 0x00, 0x00, 0x00, 0x00, 0x00, 0x00, 0x00, 0x00, 0x00, 0x00, 0x00, 0x00, 0x00, 0x00, 0x00,
    0x00, 0x00, 0x00, 0x00, 0x00, 0x00, 0x00, 0x00, 0x00, 0x00, 0x00, 0x00, 0x00, 0x00, 0x00, 0x00,
    0x00, 0x00, 0x20, 0x7C, 0x3F, 0x7F, 0x3F, 0x7F, 0x3F, 0x7F, 0x3F, 0x7F, 0x3F, 0x7F, 0x3F, 0x7F,
    0x3F, 0x0F, 0x01, 0x00, 0x00, 0x00, 0x00, 0x00, 0x00, 0x00, 0x00, 0x00, 0x00, 0x00, 0x00, 0x00,
    0x00, 0x00, 0x00, 0x00, 0x00, 0x00, 0x00, 0x00, 0x00, 0x00, 0x00, 0x00, 0x00, 0x00, 0x03, 0x1F,
    0x7F, 0x3F, 0x7F, 0x3F, 0x7F, 0x3F, 0x7F, 0x3F, 0x7F, 0x3F, 0x7F, 0x3F, 0x7E, 0x30, 0x40, 0x00,
    0x00, 0x00, 0x00, 0x00, 0x00, 0x00, 0x00, 0x00, 0x00, 0x00, 0x00, 0x00, 0x00, 0x00, 0x00, 0x00,
    0x00, 0x00, 0x00, 0x00, 0x00, 0x00, 0x00, 0x00, 0x00, 0x00, 0x00, 0x00, 0x00, 0x00, 0x00, 0x00
};

#endif /* AUGMENTAL_LOGO_H_ */
```

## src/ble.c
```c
/*
 * Copyright (c) 2025 Robert Dale Smith
 * Copyright (c) 2025 Augmental Tech
 *
 * SPDX-License-Identifier: Apache-2.0
 */

#include <zephyr/types.h>
#include <stddef.h>
#include <errno.h>
#include <zephyr/kernel.h>
#include <zephyr/sys/printk.h>

#include <zephyr/bluetooth/bluetooth.h>
#include <zephyr/bluetooth/hci.h>
#include <zephyr/bluetooth/conn.h>
#include <zephyr/bluetooth/uuid.h>
#include <zephyr/bluetooth/gatt.h>
#include <bluetooth/gatt_dm.h>
#include <zephyr/sys/byteorder.h>
#include <bluetooth/scan.h>
#include <bluetooth/services/hogp.h>
#include <dk_buttons_and_leds.h>

#include <zephyr/settings/settings.h>

#include <zephyr/logging/log.h>
#include <zephyr/usb/usb_device.h>
#include <zephyr/usb/class/usb_hid.h>

#include "ble_hid.h"
#include "ble_central.h"

/* Forward declarations for direct USB access */
extern const struct device *hid_dev;
extern struct k_sem ep_write_sem;

LOG_MODULE_REGISTER(ble_mouthpad, LOG_LEVEL_INF);

static void button_handler(uint32_t button_state, uint32_t has_changed)
{
	/* Handle BLE Central button events (pairing) */
	ble_central_handle_buttons(button_state, has_changed);

	/* Handle HID-related button events */
	ble_hid_handle_buttons(button_state, has_changed);
}

int ble_init(void)
{
	LOG_INF("Initializing BLE stack...");
	int err;

	printk("Starting Bluetooth Central HIDS\n");

	/* Initialize BLE HID module */
	err = ble_hid_init();
	if (err) {
		printk("BLE HID initialization failed (err %d)\n", err);
		return 0;
	}

	/* Initialize BLE Central module */
	err = ble_central_init();
	if (err) {
		printk("BLE Central initialization failed (err %d)\n", err);
		return 0;
	}

	/* Initialize BLE Central callbacks */
	err = ble_central_init_callbacks();
	if (err) {
		printk("BLE Central callbacks initialization failed (err %d)\n", err);
		return 0;
	}

	/* Initialize BLE Central authentication callbacks */
	err = ble_central_init_auth_callbacks();
	if (err) {
		printk("BLE Central auth callbacks initialization failed (err %d)\n", err);
		return 0;
	}

	err = bt_enable(NULL);
	if (err) {
		printk("Bluetooth init failed (err %d)\n", err);
		return 0;
	}

	printk("Bluetooth initialized\n");

	if (IS_ENABLED(CONFIG_SETTINGS)) {
		settings_load();
	}

	err = dk_buttons_init(button_handler);
	if (err) {
		printk("Failed to initialize buttons (err %d)\n", err);
		return 0;
	}

	err = ble_central_start_scan();
	if (err) {
		printk("Scanning failed to start (err %d)\n", err);
		return 0;
	}

	return 0;
}
```
